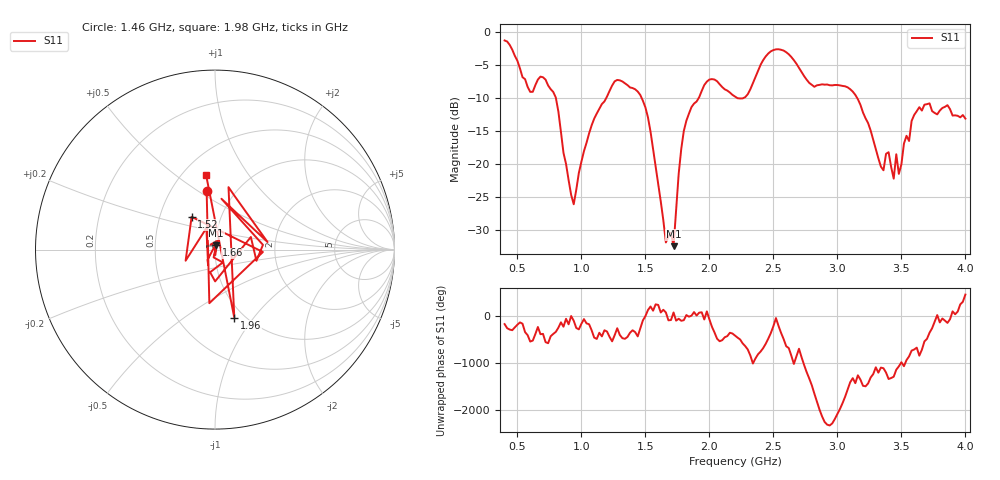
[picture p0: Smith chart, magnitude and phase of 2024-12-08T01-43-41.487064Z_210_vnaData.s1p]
!Created with skrf (http://scikit-rf.org).
# Hz S RI R 50.0
!freq ReS11 ImS11
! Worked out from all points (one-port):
!   181 points, 400 MHz to 4 GHz, reference 50 ohm
!   lowest |S11| = -32.5 dB at 1.72 GHz (marker M1), VSWR 1.05, Z = 50.6 + j2.31 ohm
!   |S11| at or under -10 dB: 800.2 MHz to 1.195 GHz (395.2 MHz wide, 39.6 % of centre); 1.47 GHz to 1.918 GHz (448.3 MHz wide, 26.5 % of centre); 3.153 GHz to end of sweep (the widest 3 of 4)
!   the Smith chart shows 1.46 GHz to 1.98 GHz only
!   S11 on the Smith chart (normalised r, x): 1.46 GHz: 0.74, +0.55; 1.52 GHz: 0.72, +0.28; 1.66 GHz: 1.01, +0.05; 1.96 GHz: 0.90, -0.81; 1.98 GHz: 0.65, +0.65
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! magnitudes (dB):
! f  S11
! 400 MHz  -1.3
! 600 MHz  -9.1
! 780 MHz  -9.1
! 860 MHz  -18.4
! 940 MHz  -26.1
! 1.08 GHz  -14.2
! 1.3 GHz  -7.4
! 1.46 GHz  -9.6
! 1.52 GHz  -13.0
! 1.66 GHz  -31.9
! 1.72 GHz  -32.5
! 1.76 GHz  -21.5
! 1.82 GHz  -13.5
! 1.96 GHz  -8.1
! 1.98 GHz  -7.6
! 2.2 GHz  -9.8
! 2.48 GHz  -3.0
! 2.66 GHz  -4.3
! 2.82 GHz  -8.3
! 3.1 GHz  -8.7
! 3.36 GHz  -21.0
! 3.4 GHz  -18.3
! 3.44 GHz  -22.3
! 3.46 GHz  -18.6
! 3.48 GHz  -21.5
! 3.56 GHz  -16.6
! 3.68 GHz  -11.1
! 4 GHz  -13.2
